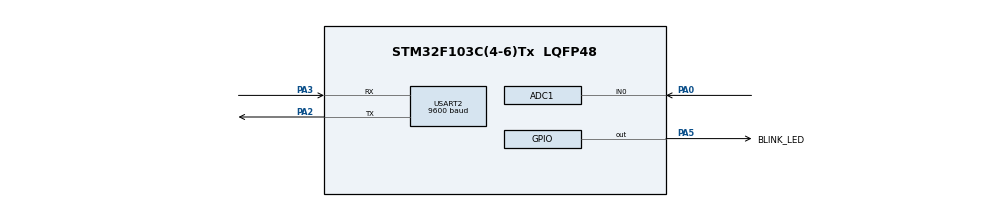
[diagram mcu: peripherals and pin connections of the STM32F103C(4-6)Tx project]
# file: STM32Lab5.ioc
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ADC1.Channel-3\#ChannelRegularConversion=ADC_CHANNEL_0
ADC1.ContinuousConvMode=ENABLE
ADC1.NbrOfConversionFlag=1
ADC1.Rank-3\#ChannelRegularConversion=1
ADC1.SamplingTime-3\#ChannelRegularConversion=ADC_SAMPLETIME_1CYCLE_5
ADC1.master=1
Mcu.Family=STM32F1
Mcu.Name=STM32F103C(4-6)Tx
Mcu.Package=LQFP48
NVIC.ADC1_2_IRQn=true\:0\:0\:false\:false\:true\:true\:true
NVIC.PriorityGroup=NVIC_PRIORITYGROUP_4
NVIC.USART2_IRQn=true\:0\:0\:false\:false\:true\:true\:true
PA0-WKUP.Signal=ADCx_IN0
PA2.Mode=Asynchronous
PA2.Signal=USART2_TX
PA3.Mode=Asynchronous
PA3.Signal=USART2_RX
PA5.GPIO_Label=BLINK_LED
PA5.Signal=GPIO_Output
ProjectManager.HeapSize=0x200
ProjectManager.StackSize=0x400
ProjectManager.TargetToolchain=STM32CubeIDE
RCC.APB1Freq_Value=8000000
RCC.APB2Freq_Value=8000000
SH.ADCx_IN0.0=ADC1_IN0,IN0
USART2.BaudRate=9600
USART2.VirtualMode=VM_ASYNC
USART2.WordLength=WORDLENGTH_8B
VP_SYS_VS_ND.Mode=No_Debug
board=custom

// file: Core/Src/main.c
/* USER CODE BEGIN Header */
/**
  ******************************************************************************
  * @file           : main.c
  * @brief          : Main program body
  ******************************************************************************
  * @attention
  *
  * <h2><center>&copy; Copyright (c) 2025 STMicroelectronics.
  * All rights reserved.</center></h2>
  *
  * This software component is licensed by ST under BSD 3-Clause license,
  * the "License"; You may not use this file except in compliance with the
  * License. You may obtain a copy of the License at:
  *                        opensource.org/licenses/BSD-3-Clause
  *
  ******************************************************************************
  */
/* USER CODE END Header */
#include "main.h"
#include "command_parser.h"
#include "uart_communication.h"

ADC_HandleTypeDef hadc1;

UART_HandleTypeDef huart2;

void SystemClock_Config(void);
static void MX_GPIO_Init(void);
static void MX_ADC1_Init(void);
static void MX_USART2_UART_Init(void);

/* USER CODE BEGIN 0 */
uint8_t uart_rx_temp;
volatile int uart_rx_flag = 0;

void HAL_UART_RxCpltCallback(UART_HandleTypeDef *huart){
    if(huart->Instance == USART2){
    	uart_rx_buffer[uart_rx_index++] = uart_rx_temp;
    	if (uart_rx_index >= UART_BUFFER_SIZE){
    		uart_rx_index = 0;
    	}

        uart_rx_flag = 1;
        HAL_UART_Receive_IT(&huart2, (uint8_t *)&uart_rx_temp, 1);
    }
}
/* USER CODE END 0 */

int main(void)
{

  /* MCU Configuration--------------------------------------------------------*/

  /* Reset of all peripherals, Initializes the Flash interface and the Systick. */
  HAL_Init();

  /* Configure the system clock */
  SystemClock_Config();

  /* Initialize all configured peripherals */
  MX_GPIO_Init();
  MX_ADC1_Init();
  MX_USART2_UART_Init();
  /* USER CODE BEGIN 2 */
  CommandParser_Init();
  UART_Comm_Init();
  HAL_UART_Receive_IT(&huart2, (uint8_t *)&uart_rx_temp, 1);
  HAL_ADCEx_Calibration_Start(&hadc1);
  HAL_ADC_Start(&hadc1);
  //HAL_ADC_PollForConversion(&hadc1, 10);

  /* USER CODE END 2 */

  /* Infinite loop */
  /* USER CODE BEGIN WHILE */
  while (1)
  {
	  if (uart_rx_flag){
		  uart_rx_flag = 0;
		  uint8_t byt = uart_rx_temp;
		  CommandParser_Run((char)byt);
	  }
	  UART_Comm_Run(HAL_GetTick());
    /* USER CODE END WHILE */

  }
}

void SystemClock_Config(void)
{
  RCC_OscInitTypeDef RCC_OscInitStruct = {0};
  RCC_ClkInitTypeDef RCC_ClkInitStruct = {0};
  RCC_PeriphCLKInitTypeDef PeriphClkInit = {0};

  /** Initializes the RCC Oscillators according to the specified parameters
  * in the RCC_OscInitTypeDef structure.
  */
  RCC_OscInitStruct.OscillatorType = RCC_OSCILLATORTYPE_HSI;
  RCC_OscInitStruct.HSIState = RCC_HSI_ON;
  RCC_OscInitStruct.HSICalibrationValue = RCC_HSICALIBRATION_DEFAULT;
  RCC_OscInitStruct.PLL.PLLState = RCC_PLL_NONE;
  if (HAL_RCC_OscConfig(&RCC_OscInitStruct) != HAL_OK)
  {
    Error_Handler();
  }
  /** Initializes the CPU, AHB and APB buses clocks
  */
  RCC_ClkInitStruct.ClockType = RCC_CLOCKTYPE_HCLK|RCC_CLOCKTYPE_SYSCLK
                              |RCC_CLOCKTYPE_PCLK1|RCC_CLOCKTYPE_PCLK2;
  RCC_ClkInitStruct.SYSCLKSource = RCC_SYSCLKSOURCE_HSI;
  RCC_ClkInitStruct.AHBCLKDivider = RCC_SYSCLK_DIV1;
  RCC_ClkInitStruct.APB1CLKDivider = RCC_HCLK_DIV1;
  RCC_ClkInitStruct.APB2CLKDivider = RCC_HCLK_DIV1;

  if (HAL_RCC_ClockConfig(&RCC_ClkInitStruct, FLASH_LATENCY_0) != HAL_OK)
  {
    Error_Handler();
  }
  PeriphClkInit.PeriphClockSelection = RCC_PERIPHCLK_ADC;
  PeriphClkInit.AdcClockSelection = RCC_ADCPCLK2_DIV2;
  if (HAL_RCCEx_PeriphCLKConfig(&PeriphClkInit) != HAL_OK)
  {
    Error_Handler();
  }
}

static void MX_ADC1_Init(void)
{

  ADC_ChannelConfTypeDef sConfig = {0};

  /** Common config
  */
  hadc1.Instance = ADC1;
  hadc1.Init.ScanConvMode = ADC_SCAN_DISABLE;
  hadc1.Init.ContinuousConvMode = ENABLE;
  hadc1.Init.DiscontinuousConvMode = DISABLE;
  hadc1.Init.ExternalTrigConv = ADC_SOFTWARE_START;
  hadc1.Init.DataAlign = ADC_DATAALIGN_RIGHT;
  hadc1.Init.NbrOfConversion = 1;
  if (HAL_ADC_Init(&hadc1) != HAL_OK)
  {
    Error_Handler();
  }
  /** Configure Regular Channel
  */
  sConfig.Channel = ADC_CHANNEL_0;
  sConfig.Rank = ADC_REGULAR_RANK_1;
  sConfig.SamplingTime = ADC_SAMPLETIME_239CYCLES_5;
  if (HAL_ADC_ConfigChannel(&hadc1, &sConfig) != HAL_OK)
  {
    Error_Handler();
  }

}

static void MX_USART2_UART_Init(void)
{

  huart2.Instance = USART2;
  huart2.Init.BaudRate = 9600;
  huart2.Init.WordLength = UART_WORDLENGTH_8B;
  huart2.Init.StopBits = UART_STOPBITS_1;
  huart2.Init.Parity = UART_PARITY_NONE;
  huart2.Init.Mode = UART_MODE_TX_RX;
  huart2.Init.HwFlowCtl = UART_HWCONTROL_NONE;
  huart2.Init.OverSampling = UART_OVERSAMPLING_16;
  if (HAL_UART_Init(&huart2) != HAL_OK)
  {
    Error_Handler();
  }

}

static void MX_GPIO_Init(void)
{
  GPIO_InitTypeDef GPIO_InitStruct = {0};

  /* GPIO Ports Clock Enable */
  __HAL_RCC_GPIOA_CLK_ENABLE();

  /*Configure GPIO pin Output Level */
  HAL_GPIO_WritePin(BLINK_LED_GPIO_Port, BLINK_LED_Pin, GPIO_PIN_RESET);

  /*Configure GPIO pin : BLINK_LED_Pin */
  GPIO_InitStruct.Pin = BLINK_LED_Pin;
  GPIO_InitStruct.Mode = GPIO_MODE_OUTPUT_PP;
  GPIO_InitStruct.Pull = GPIO_NOPULL;
  GPIO_InitStruct.Speed = GPIO_SPEED_FREQ_LOW;
  HAL_GPIO_Init(BLINK_LED_GPIO_Port, &GPIO_InitStruct);

}

void Error_Handler(void)
{
  __disable_irq();
  while (1)
  {
  }
}

/************************ (C) COPYRIGHT STMicroelectronics *****END OF FILE****/
